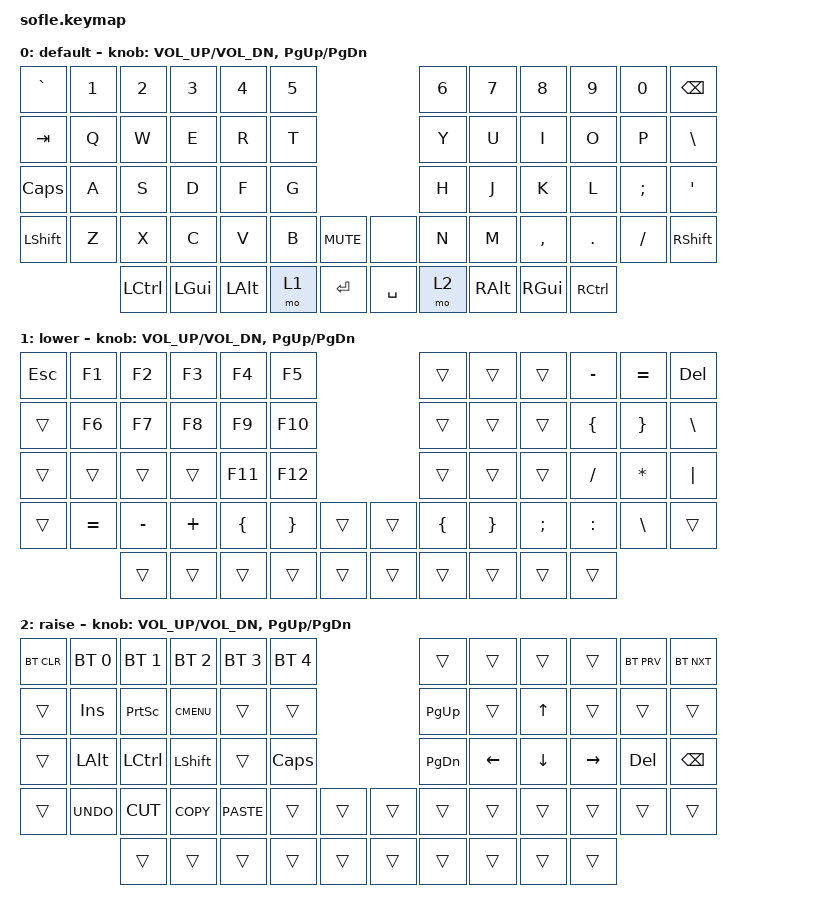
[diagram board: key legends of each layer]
/*
 * Copyright (c) 2020 The ZMK Contributors
 *
 * SPDX-License-Identifier: MIT
 */

#include <behaviors.dtsi>
#include <dt-bindings/zmk/bt.h>
#include <dt-bindings/zmk/keys.h>

#define BASE 0
#define LOWER 1
#define RAISE 2
#define ADJUST 3

/ {
    // Activate ADJUST layer by pressing raise and lower

    conditional_layers {
        compatible = "zmk,conditional-layers";

        adjust_layer {
            if-layers = <1 2>;
            then-layer = <3>;
        };
    };

    keymap {
        compatible = "zmk,keymap";

        default_layer {
            display-name = "default";

            // ------------------------------------------------------------------------------------------------------------
            // |   `   |  1  |  2  |  3   |  4   |  5   |                   |  6   |  7    |  8    |  9   |   0   |       |
            // |  ESC  |  Q  |  W  |  E   |  R   |  T   |                   |  Y   |  U    |  I    |  O   |   P   | BKSPC |
            // |  TAB  |  A  |  S  |  D   |  F   |  G   |                   |  H   |  J    |  K    |  L   |   ;   |   '   |
            // | SHIFT |  Z  |  X  |  C   |  V   |  B   |  MUTE  |  |       |  N   |  M    |  ,    |  .   |   /   | SHIFT |
            //               | GUI | ALT  | CTRL | LOWER|  ENTER |  | SPACE | RAISE| CTRL  | ALT   | GUI  |

            bindings = <
&kp GRAVE     &kp N1  &kp N2            &kp N3        &kp N4        &kp N5                           &kp N6  &kp N7         &kp N8         &kp N9             &kp N0    &kp BSPC
&kp TAB       &kp Q   &kp W             &kp E         &kp R         &kp T                            &kp Y   &kp U          &kp I          &kp O              &kp P     &kp BACKSLASH
&kp CAPSLOCK  &kp A   &kp S             &kp D         &kp F         &kp G                            &kp H   &kp J          &kp K          &kp L              &kp SEMI  &kp SQT
&kp LSHFT     &kp Z   &kp X             &kp C         &kp V         &kp B   &kp C_MUTE    &none      &kp N   &kp M          &kp COMMA      &kp DOT            &kp FSLH  &kp RSHFT
                      &kp LEFT_CONTROL  &kp LEFT_GUI  &kp LEFT_ALT  &mo 1   &kp RET       &kp SPACE  &mo 2   &kp RIGHT_ALT  &kp RIGHT_GUI  &kp RIGHT_CONTROL
            >;

            sensor-bindings = <&inc_dec_kp C_VOL_UP C_VOL_DN &inc_dec_kp PG_UP PG_DN>;
        };

        lower_layer {
            display-name = "lower";

            // TODO: Some binds are waiting for shifted keycode support.
            // ------------------------------------------------------------------------------------------------------------
            // |       |  F1 |  F2 |  F3  |  F4  |  F5  |                   |  F6  |  F7   |  F8   |  F9  |  F10  |  F11  |
            // |   `   |  1  |  2  |  3   |  4   |  5   |                   |  6   |  7    |  8    |  9   |   0   |  F12  |
            // |       |  !  |  @  |  #   |  $   |  %   |                   |  ^   |  &    |  *    |  (   |   )   |   |   |
            // |       |  =  |  -  |  +   |  {   |  }   |        |  |       |  [   |  ]    |  ;    |  :   |   \   |       |
            //               |     |      |      |      |        |  |       |      |       |       |      |

            bindings = <
&kp ESCAPE  &kp F1     &kp F2     &kp F3    &kp F4    &kp F5                      &trans          &trans           &trans    &kp MINUS       &kp EQUAL        &kp DEL
&trans      &kp F6     &kp F7     &kp F8    &kp F9    &kp F10                     &trans          &trans           &trans    &kp LEFT_BRACE  &kp RIGHT_BRACE  &kp BACKSLASH
&trans      &trans     &trans     &trans    &kp F11   &kp F12                     &trans          &trans           &trans    &kp SLASH       &kp STAR         &kp PIPE
&trans      &kp EQUAL  &kp MINUS  &kp PLUS  &kp LBRC  &kp RBRC  &trans    &trans  &kp LEFT_BRACE  &kp RIGHT_BRACE  &kp SEMI  &kp COLON       &kp BACKSLASH    &trans
                       &trans     &trans    &trans    &trans    &trans    &trans  &trans          &trans           &trans    &trans
            >;

            sensor-bindings = <&inc_dec_kp C_VOL_UP C_VOL_DN &inc_dec_kp PG_UP PG_DN>;
        };

        raise_layer {
            display-name = "raise";

            // ------------------------------------------------------------------------------------------------------------
            // | BTCLR | BT1  | BT2  |  BT3  |  BT4  |  BT5 |                |      |      |       |      |       |       |
            // |       | INS  | PSCR | GUI   |       |      |                | PGUP |      |   ^   |      |       |       |
            // |       | ALT  | CTRL | SHIFT |       | CAPS |                | PGDN |   <- |   v   |  ->  |  DEL  | BKSPC |
            // |       | UNDO | CUT  | COPY  | PASTE |      |      |  |      |      |      |       |      |       |       |
            //                |      |       |       |      |      |  |      |      |      |       |      |

            bindings = <
&bt BT_CLR  &bt BT_SEL 0  &bt BT_SEL 1  &bt BT_SEL 2  &bt BT_SEL 3  &bt BT_SEL 4                    &trans     &trans    &trans    &trans     &bt BT_PRV  &bt BT_NXT
&trans      &kp INS       &kp PSCRN     &kp K_CMENU   &trans        &trans                          &kp PG_UP  &trans    &kp UP    &trans     &trans      &trans
&trans      &kp LALT      &kp LCTRL     &kp LSHFT     &trans        &kp CLCK                        &kp PG_DN  &kp LEFT  &kp DOWN  &kp RIGHT  &kp DEL     &kp BSPC
&trans      &kp K_UNDO    &kp K_CUT     &kp K_COPY    &kp K_PASTE   &trans        &trans    &trans  &trans     &trans    &trans    &trans     &trans      &trans
                          &trans        &trans        &trans        &trans        &trans    &trans  &trans     &trans    &trans    &trans
            >;

            sensor-bindings = <&inc_dec_kp C_VOL_UP C_VOL_DN &inc_dec_kp PG_UP PG_DN>;
        };
    };
};
